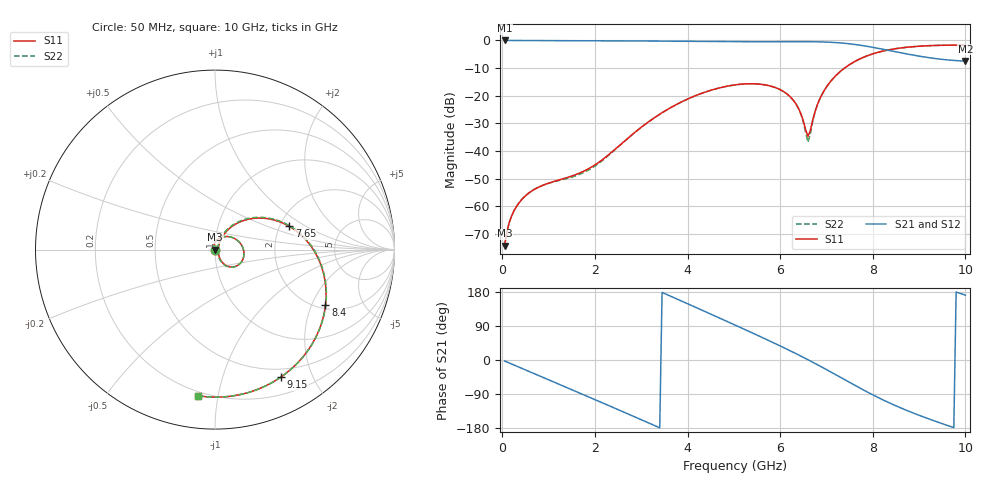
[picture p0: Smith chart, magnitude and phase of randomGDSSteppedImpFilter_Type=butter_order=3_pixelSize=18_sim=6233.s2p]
! freq	dB(S11)	phase(S11)	dB(S12)	phase(S12)
!  dB(S21)	phase(S21)	dB(S22)	phase(S22)
!S-par simulation data
#  GHz  S  DB  R 50
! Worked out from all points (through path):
!   200 points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, 50 MHz to 10 GHz, reference 50 ohm
!   highest |S21| = -0.01 dB at 50 MHz (marker M1); lowest = -7.5 dB at 10 GHz (marker M2)
!   group delay of S21, straight-line fit = 157 ps
!   lowest |S11| = -74.3 dB at 50 MHz (marker M3), VSWR 1.00, Z = 50 + j0.00319 ohm
!   |S11| at or under -10 dB: start of sweep to 7.39 GHz
!   |S22| runs from -74.4 to -1.7 dB; largest |S21 - S12| = 0
!   S11 on the Smith chart (normalised r, x): 50 MHz: 1.00, +0.00; 7.65 GHz: 2.25, +0.72; 8.4 GHz: 2.16, -2.54; 9.15 GHz: 0.40, -1.57; 10 GHz: 0.18, -0.87
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0.05  -74.26 9.5  -0.01 -2.7  -0.01 -2.7  -74.42 8.9
0.2  -63.56 -54.7  -0.02 -10.5  -0.02 -10.5  -63.51 -54.2
0.5  -56.23 -102.1  -0.03 -26.2  -0.03 -26.2  -56.13 -100.4
1.15  -50.84 -165.2  -0.07 -60.0  -0.07 -60.0  -50.98 -160.5
1.75  -47.36 145.8  -0.10 -91.4  -0.10 -91.4  -47.85 151.8
2.2  -42.63 129.0  -0.13 -115.1  -0.13 -115.1  -42.93 134.0
2.7  -35.51 114.5  -0.17 -141.5  -0.17 -141.5  -35.59 117.3
3.4  -26.68 84.8  -0.23 -178.9  -0.23 -178.9  -26.69 85.8
4.15  -20.13 47.6  -0.32 140.4  -0.32 140.4  -20.13 47.8
5.05  -16.02 0.7  -0.44 90.9  -0.44 90.9  -16.02 0.5
5.6  -15.89 -28.1  -0.48 60.2  -0.48 60.2  -15.89 -28.7
6.15  -19.39 -55.2  -0.45 28.3  -0.45 28.3  -19.42 -56.8
6.4  -24.69 -61.3  -0.44 13.2  -0.44 13.2  -24.83 -64.7
6.6  -34.69 -5.8  -0.45 0.8  -0.45 0.8  -36.78 -7.1
6.7  -29.00 50.8  -0.46 -5.6  -0.46 -5.6  -29.51 56.9
6.85  -21.36 60.2  -0.51 -15.4  -0.51 -15.4  -21.46 63.1
7.05  -15.67 53.2  -0.62 -28.7  -0.62 -28.7  -15.69 54.9
7.65  -7.27 17.5  -1.54 -69.3  -1.54 -69.3  -7.27 18.2
8.35  -3.39 -24.0  -3.62 -112.7  -3.62 -112.7  -3.39 -23.6
8.4  -3.24 -26.7  -3.78 -115.5  -3.78 -115.5  -3.24 -26.3
9.15  -1.95 -62.5  -6.08 -152.8  -6.08 -152.8  -1.95 -62.3
10  -1.73 -96.7  -7.46 171.1  -7.46 171.1  -1.73 -96.6
